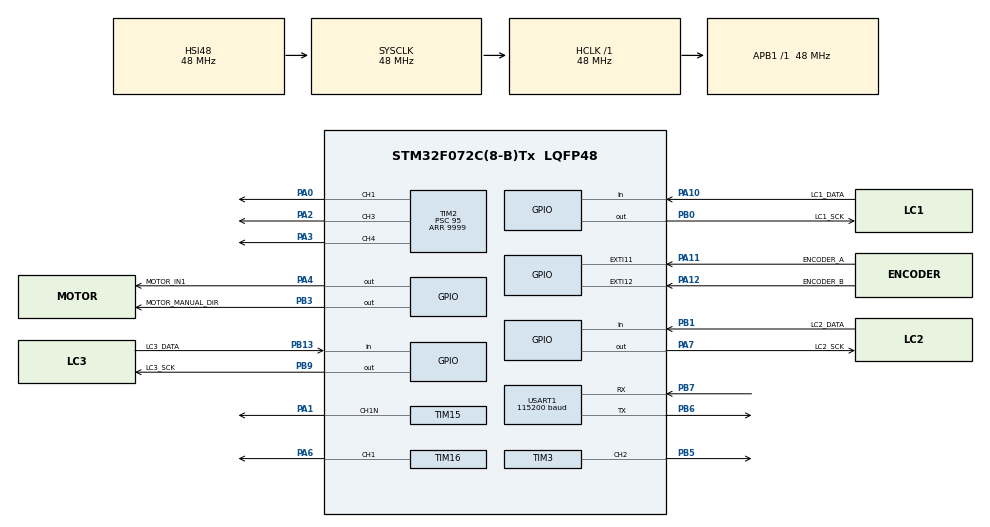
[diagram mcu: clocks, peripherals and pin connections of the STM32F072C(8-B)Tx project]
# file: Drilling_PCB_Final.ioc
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Mcu.Family=STM32F0
Mcu.Name=STM32F072C(8-B)Tx
Mcu.Package=LQFP48
NVIC.EXTI4_15_IRQn=true\:2\:0\:true\:false\:true\:true\:true\:true
NVIC.USART1_IRQn=true\:0\:0\:false\:false\:true\:true\:true\:true
PA0.Signal=S_TIM2_CH1_ETR
PA1.Mode=PWM Generation1 CH1N
PA1.Signal=TIM15_CH1N
PA10.GPIO_Label=LC1_DATA
PA10.Signal=GPIO_Input
PA11.GPIO_Label=ENCODER_A
PA11.GPIO_PuPd=GPIO_PULLUP
PA11.Signal=GPXTI11
PA12.GPIO_Label=ENCODER_B
PA12.GPIO_PuPd=GPIO_PULLUP
PA12.Signal=GPXTI12
PA13.Mode=Serial_Wire
PA13.Signal=SYS_SWDIO
PA14.Mode=Serial_Wire
PA14.Signal=SYS_SWCLK
PA2.Signal=S_TIM2_CH3
PA3.Signal=S_TIM2_CH4
PA4.GPIO_Label=MOTOR_IN1
PA4.Signal=GPIO_Output
PA6.Signal=S_TIM16_CH1
PA7.GPIO_Label=LC2_SCK
PA7.Signal=GPIO_Output
PB0.GPIO_Label=LC1_SCK
PB0.Signal=GPIO_Output
PB1.GPIO_Label=LC2_DATA
PB1.Signal=GPIO_Input
PB13.GPIO_Label=LC3_DATA
PB13.Signal=GPIO_Input
PB3.GPIO_Label=MOTOR_MANUAL_DIR
PB3.Signal=GPIO_Output
PB5.Signal=S_TIM3_CH2
PB6.Mode=Asynchronous
PB6.Signal=USART1_TX
PB7.Mode=Asynchronous
PB7.Signal=USART1_RX
PB9.GPIO_Label=LC3_SCK
PB9.Signal=GPIO_Output
PF0-OSC_IN.Mode=HSE-External-Oscillator
PF0-OSC_IN.Signal=RCC_OSC_IN
PF1-OSC_OUT.Mode=HSE-External-Oscillator
PF1-OSC_OUT.Signal=RCC_OSC_OUT
ProjectManager.HeapSize=0x200
ProjectManager.StackSize=0x400
ProjectManager.TargetToolchain=STM32CubeIDE
RCC.AHBFreq_Value=48000000
RCC.APB1Freq_Value=48000000
RCC.APB1TimFreq_Value=48000000
RCC.HCLKFreq_Value=48000000
RCC.SYSCLKFreq_VALUE=48000000
RCC.SYSCLKSource=RCC_SYSCLKSOURCE_HSI48
SH.S_TIM16_CH1.0=TIM16_CH1,PWM Generation1 CH1
SH.S_TIM2_CH1_ETR.0=TIM2_CH1,PWM Generation1 CH1
SH.S_TIM2_CH3.0=TIM2_CH3,PWM Generation3 CH3
SH.S_TIM2_CH4.0=TIM2_CH4,PWM Generation4 CH4
SH.S_TIM3_CH2.0=TIM3_CH2,PWM Generation2 CH2
TIM1.AutoReloadPreload=TIM_AUTORELOAD_PRELOAD_ENABLE
TIM1.Prescaler=47
TIM15.AutoReloadPreload=TIM_AUTORELOAD_PRELOAD_ENABLE
TIM15.Channel-PWM\ Generation1\ CH1N=TIM_CHANNEL_1
TIM15.Period=999
TIM15.Prescaler=47
TIM16.AutoReloadPreload=TIM_AUTORELOAD_PRELOAD_ENABLE
TIM16.Channel=TIM_CHANNEL_1
TIM16.Period=9999
TIM16.Prescaler=95
TIM2.AutoReloadPreload=TIM_AUTORELOAD_PRELOAD_ENABLE
TIM2.Channel-PWM\ Generation1\ CH1=TIM_CHANNEL_1
TIM2.Channel-PWM\ Generation3\ CH3=TIM_CHANNEL_3
TIM2.Channel-PWM\ Generation4\ CH4=TIM_CHANNEL_4
TIM2.Period=9999
TIM2.Prescaler=95
TIM3.Channel-PWM\ Generation2\ CH2=TIM_CHANNEL_2
TIM3.Period=999
TIM3.Prescaler=47
USART1.BaudRate=115200
USART1.VirtualMode-Asynchronous=VM_ASYNC
VP_TIM16_VS_ClockSourceINT.Mode=Enable_Timer
VP_TIM1_VS_ClockSourceINT.Mode=Internal
board=custom

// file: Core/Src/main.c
/* USER CODE BEGIN Header */
/**
  ******************************************************************************
  * @file           : main.c
  * @brief          : Main program body - Position Control Final Logic
  ******************************************************************************
  * @attention
  *
  * Copyright (c) 2025 STMicroelectronics.
  * All rights reserved.
  *
  * This software is licensed under terms that can be found in the LICENSE file
  * in the root directory of this software component.
  * If no LICENSE file comes with this software, it is provided AS-IS.
  *
  ******************************************************************************
  */
/* USER CODE END Header */
#include "main.h"

/* USER CODE BEGIN Includes */
#include "../../PID/pid_controller.h"
#include "../../PID/motor_control.h"
#include "../../Servo/servo.h"
#include "../../Loadcell/loadcell.h"
#include <stdio.h>
#include <stdbool.h>
#include <string.h>
#include "stm32f0xx_hal_tim.h"
#include <math.h> // For fabs()
/* USER CODE END Includes */

/* USER CODE BEGIN PTD */
/***********************************************UART CONFIGS************************************************/
// --- UART TX Buffer System (from Gateway Example) ---
#define UART_TX_BUFFER_SIZE 32 // Circular buffer for outgoing UART frames (power of 2)

// Structure to hold a fully formatted UART frame
typedef struct
{
  uint8_t data[20]; // Max UART frame size
  uint8_t length;
} UartFrame_t;

// Circular buffer for outgoing UART frames
typedef struct
{
  UartFrame_t frames[UART_TX_BUFFER_SIZE];
  volatile uint16_t head;
  volatile uint16_t tail;
  volatile uint32_t drops; // Count of UART frames dropped because TX buffer was full
} UartTxBuffer_t;

// UART transmission state
typedef enum
{
  UART_TX_IDLE,
  UART_TX_BUSY
} UART_TxState_t;

// --- UART RX State Machine (from Gateway Example) ---
// This is included for future expansion if you need to receive commands.
typedef enum
{
  UART_STATE_WAITING_FOR_START,
  UART_STATE_READING_ID_HIGH,
  UART_STATE_READING_ID_LOW,
  UART_STATE_READING_DLC,
  UART_STATE_READING_DATA,
  UART_STATE_READING_CHECKSUM,
  UART_STATE_READING_END
} UART_State_t;

// Simple structure for UART messages to be processed
typedef struct
{
  uint16_t id;
  uint8_t dlc;
  uint8_t data[8];
} UART_IncomingMessage_t;
/* USER CODE END PTD */

/* USER CODE BEGIN PD */

#define ENCODER_PPR 12000 // Counts Per Revolution
#define KP_POS 0.5f
#define KI_POS 0.001f
#define KD_POS 0.01f

// Servos
#define SERVO_1_TIMER     &htim2
#define SERVO_1_CHANNEL   TIM_CHANNEL_3

#define SERVO_2_TIMER     &htim2
#define SERVO_2_CHANNEL   TIM_CHANNEL_4

#define SERVO_3_TIMER     &htim2
#define SERVO_3_CHANNEL   TIM_CHANNEL_1

#define SERVO_4_TIMER     &htim16
#define SERVO_4_CHANNEL   TIM_CHANNEL_1

// Known weight in milligrams for calibration.
// Example: If you are using a 100g weight, set this to 100000.
#define KNOWN_CALIBRATION_WEIGHT_MG 194000

// --- UART Protocol Constants & Message IDs ---
const uint8_t UART_START_BYTE = 0xAA;
const uint8_t UART_END_BYTE = 0x55;

// MODIFIED: Define message IDs for our specific protocol
#define MSG_ID_REMOTE_CONTROL   0x0101 // Incoming command message
#define MSG_ID_SYSTEM_STATUS    0x0201 // Outgoing status message

/* USER CODE END PD */

TIM_HandleTypeDef htim1;
TIM_HandleTypeDef htim2;
TIM_HandleTypeDef htim3;
TIM_HandleTypeDef htim15;
TIM_HandleTypeDef htim16;

UART_HandleTypeDef huart1;

/* USER CODE BEGIN PV */

// PID controller instance
PID_TypeDef motorPID;

// Global variables for encoder and velocity calculation
volatile int32_t encoder_position = 0;
volatile float current_velocity = 0.0f;

// Global variables for target values
volatile int32_t target_position = 0;
int32_t target_velocity = 0;

// Global variables for PID calculation feedback (for Live Expressions)
volatile float current_error = 0.0f;
volatile float current_pid_output = 0.0f;

// Variable to store the current control mode
PID_CONTROL_MODE current_control_mode = POSITION_CONTROL;

// Encoder state tracking for interrupt-driven quadrature decoding
volatile uint8_t prev_encoder_state = 0;

// Variables for the manual motor
// Flag for the undecoded motor (on/off)
volatile uint8_t undecoded_motor_on_flag = 0;
volatile uint8_t manual_encoded_up_flag = 0;
volatile uint8_t manual_encoded_down_flag = 0;
uint16_t manual_pwm_value = 500; // PWM value for the manual motor
uint16_t manual_encoded_pwm_value = 600; // PWM for manual encoded motor control

// --- Declare Load Cell instances ---
LoadCell loadcell_1;
LoadCell loadcell_2;
LoadCell loadcell_3;

// --- Variables to hold the latest weights ---
long weight_1_mg = 0;
long weight_2_mg = 0;
long weight_3_mg = 0;

static UartTxBuffer_t uartTxBuffer = {0};
static volatile UART_TxState_t uart_tx_state = UART_TX_IDLE;
static uint8_t uart_tx_hal_buffer[20];
static UART_State_t uart_currentState = UART_STATE_WAITING_FOR_START;
static UART_IncomingMessage_t uart_receivedMsg;
static uint8_t uart_incomingByte;
static int uart_dataIndex = 0;
static uint8_t uart_calculatedChecksum = 0;

/* USER CODE END PV */

void SystemClock_Config(void);
static void MX_GPIO_Init(void);
static void MX_TIM3_Init(void);
static void MX_TIM15_Init(void);
static void MX_TIM2_Init(void);
static void MX_TIM16_Init(void);
static void MX_TIM1_Init(void);
static void MX_USART1_UART_Init(void);
/* USER CODE BEGIN PFP */
void Perform_Startup_Calibration(void);

void Gateway_QueueTxMessage(uint16_t id, uint8_t* data, uint8_t dlc);
void Gateway_ProcessUartByte(void);
void Uart_Tx_Try_Send(void);
void Send_Status_Over_UART(void); // MODIFIED: Renamed function
/* USER CODE END PFP */

/* USER CODE BEGIN 0 */

/******************************************************UART FUNCTIONS*******************************************/

/******************************************************************************/
/* UART GATEWAY LOGIC (FROM EXAMPLE)                       */
/******************************************************************************/

static uint8_t uart_tx_buffer_put(uint8_t* data, uint8_t length) {
    uint16_t next_head = (uartTxBuffer.head + 1) & (UART_TX_BUFFER_SIZE - 1);
    if (next_head == uartTxBuffer.tail) return 0; // Buffer full
    uartTxBuffer.frames[uartTxBuffer.head].length = length;
    memcpy(uartTxBuffer.frames[uartTxBuffer.head].data, data, length);
    uartTxBuffer.head = next_head;
    return 1;
}

static uint8_t uart_tx_buffer_get(UartFrame_t* frame) {
    if (uartTxBuffer.head == uartTxBuffer.tail) return 0; // Buffer empty
    *frame = uartTxBuffer.frames[uartTxBuffer.tail];
    uartTxBuffer.tail = (uartTxBuffer.tail + 1) & (UART_TX_BUFFER_SIZE - 1);
    return 1;
}

static uint8_t uart_tx_buffer_is_empty(void) {
    return (uartTxBuffer.head == uartTxBuffer.tail);
}

void Gateway_QueueTxMessage(uint16_t id, uint8_t* data, uint8_t dlc) {
  uint8_t frame_buffer[20];
  int idx = 0;
  uint8_t checksum = 0;
  checksum ^= (id >> 8); checksum ^= (id & 0xFF); checksum ^= dlc;
  for (int i = 0; i < dlc; ++i) { checksum ^= data[i]; }
  frame_buffer[idx++] = UART_START_BYTE;
  frame_buffer[idx++] = (uint8_t)(id >> 8);
  frame_buffer[idx++] = (uint8_t)(id & 0xFF);
  frame_buffer[idx++] = dlc;
  memcpy(&frame_buffer[idx], data, dlc);
  idx += dlc;
  frame_buffer[idx++] = checksum;
  frame_buffer[idx++] = UART_END_BYTE;
  uart_tx_buffer_put(frame_buffer, idx);
  Uart_Tx_Try_Send();
}

void Uart_Tx_Try_Send(void) {
    __disable_irq();
    if (uart_tx_state == UART_TX_IDLE && !uart_tx_buffer_is_empty()) {
        uart_tx_state = UART_TX_BUSY;
        UartFrame_t frame_to_send;
        uart_tx_buffer_get(&frame_to_send);
        __enable_irq();
        memcpy(uart_tx_hal_buffer, frame_to_send.data, frame_to_send.length);
        if (HAL_UART_Transmit_IT(&huart1, uart_tx_hal_buffer, frame_to_send.length) != HAL_OK) {
            uart_tx_state = UART_TX_IDLE;
        }
    } else {
        __enable_irq();
    }
}

/**
 * @brief MODIFIED: Processes a single byte received from UART and executes commands.
 */
void Gateway_ProcessUartByte(void) {
  switch (uart_currentState) {
  case UART_STATE_WAITING_FOR_START:
    if (uart_incomingByte == UART_START_BYTE) {
      uart_currentState = UART_STATE_READING_ID_HIGH;
      uart_calculatedChecksum = 0;
      uart_dataIndex = 0;
      memset(&uart_receivedMsg, 0, sizeof(uart_receivedMsg));
    }
    break;
  case UART_STATE_READING_ID_HIGH:
    uart_receivedMsg.id = (uint16_t)uart_incomingByte << 8;
    uart_calculatedChecksum ^= uart_incomingByte;
    uart_currentState = UART_STATE_READING_ID_LOW;
    break;
  case UART_STATE_READING_ID_LOW:
    uart_receivedMsg.id |= uart_incomingByte;
    uart_calculatedChecksum ^= uart_incomingByte;
    uart_currentState = UART_STATE_READING_DLC;
    break;
  case UART_STATE_READING_DLC:
    uart_receivedMsg.dlc = uart_incomingByte;
    uart_calculatedChecksum ^= uart_incomingByte;
    if (uart_receivedMsg.dlc <= 8) {
      uart_currentState = (uart_receivedMsg.dlc == 0) ? UART_STATE_READING_CHECKSUM : UART_STATE_READING_DATA;
    } else {
      uart_currentState = UART_STATE_WAITING_FOR_START;
    }
    break;
  case UART_STATE_READING_DATA:
    uart_receivedMsg.data[uart_dataIndex] = uart_incomingByte;
    uart_calculatedChecksum ^= uart_incomingByte;
    uart_dataIndex++;
    if (uart_dataIndex == uart_receivedMsg.dlc) {
      uart_currentState = UART_STATE_READING_CHECKSUM;
    }
    break;
  case UART_STATE_READING_CHECKSUM:
    if (uart_incomingByte == uart_calculatedChecksum) {
      uart_currentState = UART_STATE_READING_END;
    } else {
      uart_currentState = UART_STATE_WAITING_FOR_START;
    }
    break;
  case UART_STATE_READING_END:
    if (uart_incomingByte == UART_END_BYTE) {
      // A valid message has been received. ACT ON IT.
      switch(uart_receivedMsg.id) {
          case MSG_ID_REMOTE_CONTROL:
              if (uart_receivedMsg.dlc >= 8) { // Ensure message has enough data
                  // Byte 5: Manual/Auto mode
                  if (uart_receivedMsg.data[5] == 1) {
                      current_control_mode = MANUAL_ENCODED_CONTROL;
                  } else {
                      current_control_mode = POSITION_CONTROL;
                      // Bytes 0,1: Height data
                      int16_t height_data = (uart_receivedMsg.data[1] << 8) | uart_receivedMsg.data[0];
                      target_position = (int32_t)(((float)height_data / 8.0f) * ENCODER_PPR);
                  }
                  // Byte 3: Servo 1
                  if (uart_receivedMsg.data[3] == 1) {
                      setServoAngle(SERVO_1_TIMER, SERVO_1_CHANNEL, 180);
                  } else {
                      setServoAngle(SERVO_1_TIMER, SERVO_1_CHANNEL, 0);
                  }
                  // Byte 4: Undecoded motor
                  undecoded_motor_on_flag = (uart_receivedMsg.data[4] == 1);
                  // Bytes 6,7: Manual encoded motor
                  manual_encoded_up_flag = (uart_receivedMsg.data[6] == 1);
                  manual_encoded_down_flag = (uart_receivedMsg.data[7] == 1);
              }
              break;
      }
    }
    uart_currentState = UART_STATE_WAITING_FOR_START;
    break;
  }
}

/**
 * @brief MODIFIED: Packages and sends system status over UART.
 */
void Send_Status_Over_UART(void) {
    static uint32_t last_send_time = 0;
    if (HAL_GetTick() - last_send_time >= 100) {
        last_send_time = HAL_GetTick();
        uint8_t payload[4];
        // Bytes 0,1: Target Height in mm
        uint16_t height_mm = (uint16_t)(((float)target_position / (float)ENCODER_PPR) * 8.0f);
        payload[0] = height_mm & 0xFF;
        payload[1] = (height_mm >> 8) & 0xFF;
        // Bytes 2,3: Weight in grams
        uint16_t weight_g = (uint16_t)(weight_1_mg / 1000);
        payload[2] = weight_g & 0xFF;
        payload[3] = (weight_g >> 8) & 0xFF;
        Gateway_QueueTxMessage(MSG_ID_SYSTEM_STATUS, payload, 4);
    }
}

/****************************************************PID FUNCTIONS***********************************************/

/**
 * @brief HAL_GPIO_EXTI_Callback - Interrupt handler for encoder pins.
 * @param GPIO_Pin Specifies the pins connected to the EXTI line.
 */
void HAL_GPIO_EXTI_Callback(uint16_t GPIO_Pin)
{
    uint8_t current_A_state = HAL_GPIO_ReadPin(ENCODER_A_GPIO_Port, ENCODER_A_Pin);
    uint8_t current_B_state = HAL_GPIO_ReadPin(ENCODER_B_GPIO_Port, ENCODER_B_Pin);
    uint8_t current_encoder_state = (current_A_state << 1) | current_B_state;

    if (current_encoder_state != prev_encoder_state)
    {
        static const int8_t lookup_table[] = {
            0,  -1, 1,  0,
            1,  0,  0,  -1,
            -1,  0,  0, 1,
            0, 1,  -1,  0
        };

        int index = (prev_encoder_state << 2) | current_encoder_state;
        if (index >= 0 && index < sizeof(lookup_table) / sizeof(lookup_table[0])) {
            encoder_position += lookup_table[index];
        }
    }
    prev_encoder_state = current_encoder_state;
}

void Motor_SetPosition(int32_t position_counts)
{
    target_position = position_counts;
    current_control_mode = POSITION_CONTROL;
}

void Motor_StopControl(void)
{
    current_control_mode = IDLE_MODE;
    Motor_SetPWM(0);
    Motor_SetDirection(MOTOR_STOP);
    PID_Reset(&motorPID); // Reset PID on stop
    target_velocity = 0;
    target_position = encoder_position;
    current_velocity = 0.0f;
}

/*************************************************LOADCELLS FUNCTIONS*******************************************************/

void Perform_Startup_Calibration(void) {
    // --- Step 1: Tare all load cells (ensure they are empty) ---
    // You might want to signal the user (e.g., blink an LED) that taring is in progress.
    HAL_GPIO_WritePin(GPIOA, GPIO_PIN_15, GPIO_PIN_SET);

    LoadCell_Tare(&loadcell_1, 15);
    LoadCell_Tare(&loadcell_2, 15);
    LoadCell_Tare(&loadcell_3, 15);

    HAL_GPIO_WritePin(GPIOA, GPIO_PIN_15, GPIO_PIN_RESET);

    // --- Step 2: Wait for user to place the known weight ---
    // Signal the user to place the calibration weight on one of the scales.
    // Here, we just wait for 5 seconds as an example.
    // A better approach would be to wait for a user button press.
    HAL_Delay(5000); // Wait 5 seconds

    // --- Step 3: Calibrate the load cells one by one ---
    // Example: Calibrating load cell 1.
    // The user should have placed the weight on load cell 1 during the delay.
    HAL_GPIO_WritePin(GPIOA, GPIO_PIN_15, GPIO_PIN_SET);
    LoadCell_Calibrate(&loadcell_1, KNOWN_CALIBRATION_WEIGHT_MG, 15);
    HAL_GPIO_WritePin(GPIOA, GPIO_PIN_15, GPIO_PIN_RESET);
    HAL_Delay(1000); // Short delay

    // IMPORTANT: Repeat the process for the other two load cells.
    // You will need a way to signal the user which scale to place the weight on.
    // For simplicity, this example only calibrates the first one. You can copy the
    // HAL_Delay -> Calibrate -> Delay sequence for the other two.
}

/* USER CODE END 0 */

int main(void)
{

  /* MCU Configuration--------------------------------------------------------*/

  /* Reset of all peripherals, Initializes the Flash interface and the Systick. */
  HAL_Init();

  /* Configure the system clock */
  SystemClock_Config();

  /* Initialize all configured peripherals */
  MX_GPIO_Init();
  MX_TIM3_Init();
  MX_TIM15_Init();
  MX_TIM2_Init();
  MX_TIM16_Init();
  MX_TIM1_Init();
  MX_USART1_UART_Init();
  /* USER CODE BEGIN 2 */
  HAL_GPIO_WritePin(GPIOB, GPIO_PIN_15, GPIO_PIN_SET); // LED off

  /******************************************* UART SETUP ****************************************************/
    // Initialize the UART TX buffer
    memset(&uartTxBuffer, 0, sizeof(uartTxBuffer));
    // Start listening for incoming UART data (for future command/control)
    HAL_UART_Receive_IT(&huart1, &uart_incomingByte, 1);

  /*******************************************PID SETEUP****************************************************/

  // PID_Init moved here to be called only once.
  PID_Init(&motorPID, KP_POS, KI_POS, KD_POS, (float)htim15.Init.Period, -(float)htim15.Init.Period);
  // Start the main PWM channel (required for the timer base)
  HAL_TIM_PWM_Start(&htim15, TIM_CHANNEL_1);
  // Specifically start the complementary channel 'N' output
  HAL_TIMEx_PWMN_Start(&htim15, TIM_CHANNEL_1);
  HAL_TIM_PWM_Start(&htim3, TIM_CHANNEL_2); // Start PWM for the manual motor
  prev_encoder_state = (HAL_GPIO_ReadPin(ENCODER_A_GPIO_Port, ENCODER_A_Pin) << 1) |
                       HAL_GPIO_ReadPin(ENCODER_B_GPIO_Port, ENCODER_B_Pin);

  /*******************************************SERVOS SETEUP****************************************************/

  // Start the PWM signal for all four servos using their new names
//      HAL_TIM_PWM_Start(SERVO_3_TIMER, SERVO_3_CHANNEL); // Servo 3
//      HAL_TIM_PWM_Start(SERVO_1_TIMER, SERVO_1_CHANNEL); // Servo 1
//      HAL_TIM_PWM_Start(SERVO_2_TIMER, SERVO_2_CHANNEL); // Servo 2
//      HAL_TIM_PWM_Start(SERVO_4_TIMER, SERVO_4_CHANNEL); // Servo 4

//  	// Set all servos to the initial center position (90 degrees)
//      setServoAngle(SERVO_3_TIMER, SERVO_3_CHANNEL, 90);
//      setServoAngle(SERVO_1_TIMER, SERVO_1_CHANNEL, 90);
//      setServoAngle(SERVO_2_TIMER, SERVO_2_CHANNEL, 90);
//      setServoAngle(SERVO_4_TIMER, SERVO_4_CHANNEL, 90);
//
//      HAL_Delay(200); // Give servos time to reach initial position

/*******************************************LOADCELLS SETEUP****************************************************/

//      HAL_TIM_Base_Start(&htim1);
//
//      // Initialize all three load cells
//	  LoadCell_Init(&loadcell_1, LC1_DATA_GPIO_Port, LC1_DATA_Pin, LC1_SCK_GPIO_Port, LC1_SCK_Pin, &htim1);
//	  LoadCell_Init(&loadcell_2, LC2_DATA_GPIO_Port, LC2_DATA_Pin, LC2_SCK_GPIO_Port, LC2_SCK_Pin, &htim1);
//	  LoadCell_Init(&loadcell_3, LC3_DATA_GPIO_Port, LC3_DATA_Pin, LC3_SCK_GPIO_Port, LC3_SCK_Pin, &htim1);
//
//	  // Perform the startup calibration routine
//	  Perform_Startup_Calibration();

  /* USER CODE END 2 */

  /* Infinite loop */
  /* USER CODE BEGIN WHILE */
  while (1)
  {
/***************************************************PID LOGIC***********************************************/

	  switch (current_control_mode)
	      {
	          case POSITION_CONTROL:
	              current_error = (float)target_position - encoder_position;
	              current_pid_output = PID_Compute(&motorPID, current_error, 0.01f);
	              if (current_pid_output > 50) {
	                  Motor_SetDirection(MOTOR_FORWARD);
	                  Motor_SetPWM((uint16_t)current_pid_output);
	              } else if (current_pid_output < -50) {
	                  Motor_SetDirection(MOTOR_REVERSE);
	                  Motor_SetPWM((uint16_t)fabs(current_pid_output));
	              } else {
	                  Motor_SetDirection(MOTOR_STOP);
	                  Motor_SetPWM(0);
	              }
	              break;
	          case MANUAL_ENCODED_CONTROL:
	              PID_Reset(&motorPID);
	              if (manual_encoded_up_flag && !manual_encoded_down_flag) {
	                  Motor_SetDirection(MOTOR_FORWARD);
	                  Motor_SetPWM(manual_encoded_pwm_value);
	              } else if (manual_encoded_down_flag && !manual_encoded_up_flag) {
	                  Motor_SetDirection(MOTOR_REVERSE);
	                  Motor_SetPWM(manual_encoded_pwm_value);
	              } else {
	                  Motor_SetDirection(MOTOR_STOP);
	                  Motor_SetPWM(0);
	              }
	              break;
	          case IDLE_MODE:
	          default:
	              Motor_SetDirection(MOTOR_STOP);
	              Motor_SetPWM(0);
	              PID_Reset(&motorPID);
	              break;
	      }

	      if (undecoded_motor_on_flag) {
	          Motor_SetManualPWM(manual_pwm_value, GPIO_PIN_SET);
	      } else {
	          Motor_SetManualPWM(0, GPIO_PIN_RESET);
	      }

/********************************************LOADCELLS CODE****************************************/

//      // Continuously run the non-blocking manager for each load cell
//	  LoadCell_Manager(&loadcell_1);
//	  LoadCell_Manager(&loadcell_2);
//	  LoadCell_Manager(&loadcell_3);
//
//	  // Check if a new, averaged weight reading is ready from any load cell
//	  if (loadcell_1.new_weight_available) {
//		weight_1_mg = LoadCell_GetWeight(&loadcell_1);
//		// You can now use the `weight_1_mg` variable.
//	  }
//
//	  if (loadcell_2.new_weight_available) {
//		weight_2_mg = LoadCell_GetWeight(&loadcell_2);
//		// You can now use the `weight_2_mg` variable.
//	  }
//
//	  if (loadcell_3.new_weight_available) {
//		weight_3_mg = LoadCell_GetWeight(&loadcell_3);
//		// You can now use the `weight_3_mg` variable.
//	  }
//
//	  // You can add other non-blocking tasks here.
//	  // Example: Print weights via UART or update an LCD.
//	  // Note: The main loop no longer needs a HAL_Delay() as the managers are non-blocking.

      /********************************************LOADCELLS & UART****************************************/
           LoadCell_Manager(&loadcell_1); // Uncomment if using load cells
           if (loadcell_1.new_weight_available) {
               weight_1_mg = LoadCell_GetWeight(&loadcell_1);
           }

          Send_Status_Over_UART();
          HAL_Delay(10); // Maintain a consistent loop rate (100 Hz)

    /* USER CODE END WHILE */

  }
}

void SystemClock_Config(void)
{
  RCC_OscInitTypeDef RCC_OscInitStruct = {0};
  RCC_ClkInitTypeDef RCC_ClkInitStruct = {0};
  RCC_PeriphCLKInitTypeDef PeriphClkInit = {0};

  /** Initializes the RCC Oscillators according to the specified parameters
  * in the RCC_OscInitTypeDef structure.
  */
  RCC_OscInitStruct.OscillatorType = RCC_OSCILLATORTYPE_HSI48;
  RCC_OscInitStruct.HSI48State = RCC_HSI48_ON;
  RCC_OscInitStruct.PLL.PLLState = RCC_PLL_NONE;
  if (HAL_RCC_OscConfig(&RCC_OscInitStruct) != HAL_OK)
  {
    Error_Handler();
  }

  /** Initializes the CPU, AHB and APB buses clocks
  */
  RCC_ClkInitStruct.ClockType = RCC_CLOCKTYPE_HCLK|RCC_CLOCKTYPE_SYSCLK
                              |RCC_CLOCKTYPE_PCLK1;
  RCC_ClkInitStruct.SYSCLKSource = RCC_SYSCLKSOURCE_HSI48;
  RCC_ClkInitStruct.AHBCLKDivider = RCC_SYSCLK_DIV1;
  RCC_ClkInitStruct.APB1CLKDivider = RCC_HCLK_DIV1;

  if (HAL_RCC_ClockConfig(&RCC_ClkInitStruct, FLASH_LATENCY_1) != HAL_OK)
  {
    Error_Handler();
  }
  PeriphClkInit.PeriphClockSelection = RCC_PERIPHCLK_USART1;
  PeriphClkInit.Usart1ClockSelection = RCC_USART1CLKSOURCE_PCLK1;
  if (HAL_RCCEx_PeriphCLKConfig(&PeriphClkInit) != HAL_OK)
  {
    Error_Handler();
  }
}

static void MX_TIM1_Init(void)
{

  TIM_ClockConfigTypeDef sClockSourceConfig = {0};
  TIM_MasterConfigTypeDef sMasterConfig = {0};

  htim1.Instance = TIM1;
  htim1.Init.Prescaler = 47;
  htim1.Init.CounterMode = TIM_COUNTERMODE_UP;
  htim1.Init.Period = 65535;
  htim1.Init.ClockDivision = TIM_CLOCKDIVISION_DIV1;
  htim1.Init.RepetitionCounter = 0;
  htim1.Init.AutoReloadPreload = TIM_AUTORELOAD_PRELOAD_ENABLE;
  if (HAL_TIM_Base_Init(&htim1) != HAL_OK)
  {
    Error_Handler();
  }
  sClockSourceConfig.ClockSource = TIM_CLOCKSOURCE_INTERNAL;
  if (HAL_TIM_ConfigClockSource(&htim1, &sClockSourceConfig) != HAL_OK)
  {
    Error_Handler();
  }
  sMasterConfig.MasterOutputTrigger = TIM_TRGO_RESET;
  sMasterConfig.MasterSlaveMode = TIM_MASTERSLAVEMODE_DISABLE;
  if (HAL_TIMEx_MasterConfigSynchronization(&htim1, &sMasterConfig) != HAL_OK)
  {
    Error_Handler();
  }

}

static void MX_TIM2_Init(void)
{

  TIM_MasterConfigTypeDef sMasterConfig = {0};
  TIM_OC_InitTypeDef sConfigOC = {0};

  htim2.Instance = TIM2;
  htim2.Init.Prescaler = 95;
  htim2.Init.CounterMode = TIM_COUNTERMODE_UP;
  htim2.Init.Period = 9999;
  htim2.Init.ClockDivision = TIM_CLOCKDIVISION_DIV1;
  htim2.Init.AutoReloadPreload = TIM_AUTORELOAD_PRELOAD_ENABLE;
  if (HAL_TIM_PWM_Init(&htim2) != HAL_OK)
  {
    Error_Handler();
  }
  sMasterConfig.MasterOutputTrigger = TIM_TRGO_RESET;
  sMasterConfig.MasterSlaveMode = TIM_MASTERSLAVEMODE_DISABLE;
  if (HAL_TIMEx_MasterConfigSynchronization(&htim2, &sMasterConfig) != HAL_OK)
  {
    Error_Handler();
  }
  sConfigOC.OCMode = TIM_OCMODE_PWM1;
  sConfigOC.Pulse = 0;
  sConfigOC.OCPolarity = TIM_OCPOLARITY_HIGH;
  sConfigOC.OCFastMode = TIM_OCFAST_DISABLE;
  if (HAL_TIM_PWM_ConfigChannel(&htim2, &sConfigOC, TIM_CHANNEL_1) != HAL_OK)
  {
    Error_Handler();
  }
  if (HAL_TIM_PWM_ConfigChannel(&htim2, &sConfigOC, TIM_CHANNEL_3) != HAL_OK)
  {
    Error_Handler();
  }
  if (HAL_TIM_PWM_ConfigChannel(&htim2, &sConfigOC, TIM_CHANNEL_4) != HAL_OK)
  {
    Error_Handler();
  }
  HAL_TIM_MspPostInit(&htim2);

}

static void MX_TIM3_Init(void)
{

  TIM_MasterConfigTypeDef sMasterConfig = {0};
  TIM_OC_InitTypeDef sConfigOC = {0};

  htim3.Instance = TIM3;
  htim3.Init.Prescaler = 47;
  htim3.Init.CounterMode = TIM_COUNTERMODE_UP;
  htim3.Init.Period = 999;
  htim3.Init.ClockDivision = TIM_CLOCKDIVISION_DIV1;
  htim3.Init.AutoReloadPreload = TIM_AUTORELOAD_PRELOAD_DISABLE;
  if (HAL_TIM_PWM_Init(&htim3) != HAL_OK)
  {
    Error_Handler();
  }
  sMasterConfig.MasterOutputTrigger = TIM_TRGO_RESET;
  sMasterConfig.MasterSlaveMode = TIM_MASTERSLAVEMODE_DISABLE;
  if (HAL_TIMEx_MasterConfigSynchronization(&htim3, &sMasterConfig) != HAL_OK)
  {
    Error_Handler();
  }
  sConfigOC.OCMode = TIM_OCMODE_PWM1;
  sConfigOC.Pulse = 0;
  sConfigOC.OCPolarity = TIM_OCPOLARITY_HIGH;
  sConfigOC.OCFastMode = TIM_OCFAST_DISABLE;
  if (HAL_TIM_PWM_ConfigChannel(&htim3, &sConfigOC, TIM_CHANNEL_2) != HAL_OK)
  {
    Error_Handler();
  }
  HAL_TIM_MspPostInit(&htim3);

}

static void MX_TIM15_Init(void)
{

  TIM_MasterConfigTypeDef sMasterConfig = {0};
  TIM_OC_InitTypeDef sConfigOC = {0};
  TIM_BreakDeadTimeConfigTypeDef sBreakDeadTimeConfig = {0};

  htim15.Instance = TIM15;
  htim15.Init.Prescaler = 47;
  htim15.Init.CounterMode = TIM_COUNTERMODE_UP;
  htim15.Init.Period = 999;
  htim15.Init.ClockDivision = TIM_CLOCKDIVISION_DIV1;
  htim15.Init.RepetitionCounter = 0;
  htim15.Init.AutoReloadPreload = TIM_AUTORELOAD_PRELOAD_ENABLE;
  if (HAL_TIM_PWM_Init(&htim15) != HAL_OK)
  {
    Error_Handler();
  }
  sMasterConfig.MasterOutputTrigger = TIM_TRGO_RESET;
  sMasterConfig.MasterSlaveMode = TIM_MASTERSLAVEMODE_DISABLE;
  if (HAL_TIMEx_MasterConfigSynchronization(&htim15, &sMasterConfig) != HAL_OK)
  {
    Error_Handler();
  }
  sConfigOC.OCMode = TIM_OCMODE_PWM1;
  sConfigOC.Pulse = 0;
  sConfigOC.OCPolarity = TIM_OCPOLARITY_HIGH;
  sConfigOC.OCNPolarity = TIM_OCNPOLARITY_HIGH;
  sConfigOC.OCFastMode = TIM_OCFAST_DISABLE;
  sConfigOC.OCIdleState = TIM_OCIDLESTATE_RESET;
  sConfigOC.OCNIdleState = TIM_OCNIDLESTATE_RESET;
  if (HAL_TIM_PWM_ConfigChannel(&htim15, &sConfigOC, TIM_CHANNEL_1) != HAL_OK)
  {
    Error_Handler();
  }
  sBreakDeadTimeConfig.OffStateRunMode = TIM_OSSR_DISABLE;
  sBreakDeadTimeConfig.OffStateIDLEMode = TIM_OSSI_DISABLE;
  sBreakDeadTimeConfig.LockLevel = TIM_LOCKLEVEL_OFF;
  sBreakDeadTimeConfig.DeadTime = 0;
  sBreakDeadTimeConfig.BreakState = TIM_BREAK_DISABLE;
  sBreakDeadTimeConfig.BreakPolarity = TIM_BREAKPOLARITY_HIGH;
  sBreakDeadTimeConfig.AutomaticOutput = TIM_AUTOMATICOUTPUT_DISABLE;
  if (HAL_TIMEx_ConfigBreakDeadTime(&htim15, &sBreakDeadTimeConfig) != HAL_OK)
  {
    Error_Handler();
  }
  HAL_TIM_MspPostInit(&htim15);

}

static void MX_TIM16_Init(void)
{

  TIM_OC_InitTypeDef sConfigOC = {0};
  TIM_BreakDeadTimeConfigTypeDef sBreakDeadTimeConfig = {0};

  htim16.Instance = TIM16;
  htim16.Init.Prescaler = 95;
  htim16.Init.CounterMode = TIM_COUNTERMODE_UP;
  htim16.Init.Period = 9999;
  htim16.Init.ClockDivision = TIM_CLOCKDIVISION_DIV1;
  htim16.Init.RepetitionCounter = 0;
  htim16.Init.AutoReloadPreload = TIM_AUTORELOAD_PRELOAD_ENABLE;
  if (HAL_TIM_Base_Init(&htim16) != HAL_OK)
  {
    Error_Handler();
  }
  if (HAL_TIM_PWM_Init(&htim16) != HAL_OK)
  {
    Error_Handler();
  }
  sConfigOC.OCMode = TIM_OCMODE_PWM1;
  sConfigOC.Pulse = 0;
  sConfigOC.OCPolarity = TIM_OCPOLARITY_HIGH;
  sConfigOC.OCNPolarity = TIM_OCNPOLARITY_HIGH;
  sConfigOC.OCFastMode = TIM_OCFAST_DISABLE;
  sConfigOC.OCIdleState = TIM_OCIDLESTATE_RESET;
  sConfigOC.OCNIdleState = TIM_OCNIDLESTATE_RESET;
  if (HAL_TIM_PWM_ConfigChannel(&htim16, &sConfigOC, TIM_CHANNEL_1) != HAL_OK)
  {
    Error_Handler();
  }
  sBreakDeadTimeConfig.OffStateRunMode = TIM_OSSR_DISABLE;
  sBreakDeadTimeConfig.OffStateIDLEMode = TIM_OSSI_DISABLE;
  sBreakDeadTimeConfig.LockLevel = TIM_LOCKLEVEL_OFF;
  sBreakDeadTimeConfig.DeadTime = 0;
  sBreakDeadTimeConfig.BreakState = TIM_BREAK_DISABLE;
  sBreakDeadTimeConfig.BreakPolarity = TIM_BREAKPOLARITY_HIGH;
  sBreakDeadTimeConfig.AutomaticOutput = TIM_AUTOMATICOUTPUT_DISABLE;
  if (HAL_TIMEx_ConfigBreakDeadTime(&htim16, &sBreakDeadTimeConfig) != HAL_OK)
  {
    Error_Handler();
  }
  HAL_TIM_MspPostInit(&htim16);

}

static void MX_USART1_UART_Init(void)
{

  huart1.Instance = USART1;
  huart1.Init.BaudRate = 115200;
  huart1.Init.WordLength = UART_WORDLENGTH_8B;
  huart1.Init.StopBits = UART_STOPBITS_1;
  huart1.Init.Parity = UART_PARITY_NONE;
  huart1.Init.Mode = UART_MODE_TX_RX;
  huart1.Init.HwFlowCtl = UART_HWCONTROL_NONE;
  huart1.Init.OverSampling = UART_OVERSAMPLING_16;
  huart1.Init.OneBitSampling = UART_ONE_BIT_SAMPLE_DISABLE;
  huart1.AdvancedInit.AdvFeatureInit = UART_ADVFEATURE_NO_INIT;
  if (HAL_UART_Init(&huart1) != HAL_OK)
  {
    Error_Handler();
  }

}

static void MX_GPIO_Init(void)
{
  GPIO_InitTypeDef GPIO_InitStruct = {0};

  /* GPIO Ports Clock Enable */
  __HAL_RCC_GPIOF_CLK_ENABLE();
  __HAL_RCC_GPIOA_CLK_ENABLE();
  __HAL_RCC_GPIOB_CLK_ENABLE();

  /*Configure GPIO pin Output Level */
  HAL_GPIO_WritePin(GPIOA, MOTOR_IN1_Pin|LC2_SCK_Pin, GPIO_PIN_RESET);

  /*Configure GPIO pin Output Level */
  HAL_GPIO_WritePin(GPIOB, LC1_SCK_Pin|MOTOR_MANUAL_DIR_Pin|LC3_SCK_Pin, GPIO_PIN_RESET);

  /*Configure GPIO pins : MOTOR_IN1_Pin LC2_SCK_Pin */
  GPIO_InitStruct.Pin = MOTOR_IN1_Pin|LC2_SCK_Pin;
  GPIO_InitStruct.Mode = GPIO_MODE_OUTPUT_PP;
  GPIO_InitStruct.Pull = GPIO_NOPULL;
  GPIO_InitStruct.Speed = GPIO_SPEED_FREQ_LOW;
  HAL_GPIO_Init(GPIOA, &GPIO_InitStruct);

  /*Configure GPIO pins : LC1_SCK_Pin MOTOR_MANUAL_DIR_Pin LC3_SCK_Pin */
  GPIO_InitStruct.Pin = LC1_SCK_Pin|MOTOR_MANUAL_DIR_Pin|LC3_SCK_Pin;
  GPIO_InitStruct.Mode = GPIO_MODE_OUTPUT_PP;
  GPIO_InitStruct.Pull = GPIO_NOPULL;
  GPIO_InitStruct.Speed = GPIO_SPEED_FREQ_LOW;
  HAL_GPIO_Init(GPIOB, &GPIO_InitStruct);

  /*Configure GPIO pins : LC2_DATA_Pin LC3_DATA_Pin */
  GPIO_InitStruct.Pin = LC2_DATA_Pin|LC3_DATA_Pin;
  GPIO_InitStruct.Mode = GPIO_MODE_INPUT;
  GPIO_InitStruct.Pull = GPIO_NOPULL;
  HAL_GPIO_Init(GPIOB, &GPIO_InitStruct);

  /*Configure GPIO pin : LC1_DATA_Pin */
  GPIO_InitStruct.Pin = LC1_DATA_Pin;
  GPIO_InitStruct.Mode = GPIO_MODE_INPUT;
  GPIO_InitStruct.Pull = GPIO_NOPULL;
  HAL_GPIO_Init(LC1_DATA_GPIO_Port, &GPIO_InitStruct);

  /*Configure GPIO pins : ENCODER_A_Pin ENCODER_B_Pin */
  GPIO_InitStruct.Pin = ENCODER_A_Pin|ENCODER_B_Pin;
  GPIO_InitStruct.Mode = GPIO_MODE_IT_RISING;
  GPIO_InitStruct.Pull = GPIO_PULLUP;
  HAL_GPIO_Init(GPIOA, &GPIO_InitStruct);

  /* EXTI interrupt init*/
  HAL_NVIC_SetPriority(EXTI4_15_IRQn, 2, 0);
  HAL_NVIC_EnableIRQ(EXTI4_15_IRQn);

}

/* USER CODE BEGIN 4 */
/******************************************************************************/
/* HAL CALLBACKS                                    */
/******************************************************************************/

void HAL_UART_RxCpltCallback(UART_HandleTypeDef *huart) {
  if (huart->Instance == USART1) {
    Gateway_ProcessUartByte();
    HAL_UART_Receive_IT(&huart1, &uart_incomingByte, 1);
  }
}
void HAL_UART_TxCpltCallback(UART_HandleTypeDef *huart) {
  if (huart->Instance == USART1) {
    // This is a custom function from the gateway logic
    uart_tx_state = UART_TX_IDLE;
    Uart_Tx_Try_Send();
  }
}
/* USER CODE END 4 */

void Error_Handler(void)
{
  __disable_irq();
  while (1)
  {
  }
}
